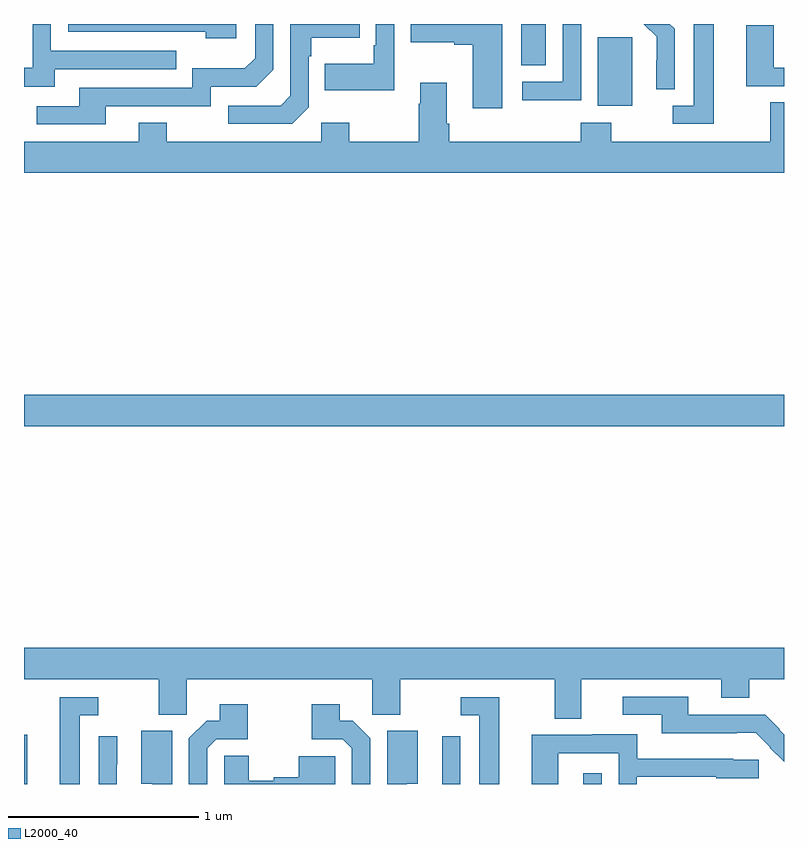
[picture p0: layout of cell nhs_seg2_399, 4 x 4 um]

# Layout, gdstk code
import gdstk
lib = gdstk.Library(unit=1e-6, precision=1e-09)
def R(c, l, rs):  # rectangles x0, y0, x1, y1
    for r in rs: c.add(gdstk.rectangle(r[:2], r[2:], *l))
def P(c, l, *ps):  # polygons
    for p in ps: c.add(gdstk.Polygon(p, *l))
L2000_40 = (2000, 40)

nhs_seg2_399 = lib.new_cell('nhs_seg2_399')
R(nhs_seg2_399, L2000_40, [(131,597.8,131.017,598.059), (133.943,597.8,134.04,597.856), (131,599.684,135,599.848), (134.021,601.37,134.2,601.731), (133.616,601.582,133.747,601.8)])
P(nhs_seg2_399, L2000_40, [(134.629,601.8),(134.525,601.8),(134.525,601.371),(134.415,601.371),(134.415,601.275),(134.629,601.275)],
  [(132.118,601.8),(131.232,601.8),(131.232,601.758),(131.957,601.758),(131.957,601.724),(132.118,601.724)],
  [(132.948,601.8),(132.852,601.8),(132.852,601.687),(132.84,601.687),(132.84,601.591),(132.583,601.591),(132.583,601.451),(132.948,601.451)],
  [(132.498,601.362),(132.498,601.631),(132.511,601.631),(132.511,601.727),(132.767,601.727),(132.767,601.8),(132.402,601.8),(132.402,601.422),(132.351,601.371),(132.075,601.371),(132.075,601.275),(132.411,601.275)],
  [(131.431,601.368),(131.982,601.368),(131.982,601.47),(132.222,601.47),(132.312,601.56),(132.312,601.8),(132.216,601.8),(132.216,601.62),(132.163,601.567),(131.886,601.567),(131.886,601.464),(131.291,601.464),(131.291,601.368),(131.067,601.368),(131.067,601.272),(131.431,601.272)],
  [(134.424,601.774),(134.398,601.8),(134.262,601.8),(134.33,601.733),(134.33,601.61),(134.328,601.61),(134.328,601.456),(134.424,601.456)],
  [(133.932,601.8),(133.836,601.8),(133.836,601.497),(133.623,601.497),(133.623,601.399),(133.932,601.399)],
  [(131.161,601.563),(131.801,601.563),(131.801,601.659),(131.142,601.659),(131.142,601.8),(131.046,601.8),(131.046,601.569),(131,601.569),(131,601.469),(131.161,601.469)],
  [(133.516,601.8),(133.035,601.8),(133.035,601.703),(133.265,601.703),(133.265,601.691),(133.361,601.691),(133.361,601.356),(133.516,601.356)],
  [(135,601.569),(134.946,601.569),(134.946,601.793),(134.801,601.793),(134.801,601.473),(135,601.473)],
  [(135,601.388),(134.927,601.388),(134.927,601.18),(134.091,601.18),(134.091,601.279),(133.931,601.279),(133.931,601.18),(133.238,601.18),(133.238,601.276),(133.225,601.276),(133.225,601.492),(133.085,601.492),(133.085,601.379),(133.078,601.379),(133.078,601.18),(132.711,601.18),(132.711,601.279),(132.564,601.279),(132.564,601.18),(131.751,601.18),(131.751,601.279),(131.603,601.279),(131.603,601.18),(131,601.18),(131,601.016),(135,601.016)],
  [(133.933,598.352),(134.669,598.352),(134.669,598.253),(134.817,598.253),(134.817,598.352),(135,598.352),(135,598.516),(131,598.516),(131,598.352),(131.71,598.352),(131.71,598.165),(131.856,598.165),(131.856,598.352),(132.834,598.352),(132.834,598.165),(132.981,598.165),(132.981,598.352),(133.793,598.352),(133.793,598.144),(133.933,598.144)],
  [(135,598.06),(134.975,598.085),(134.977,598.087),(134.901,598.164),(134.497,598.164),(134.497,598.26),(134.151,598.26),(134.151,598.164),(134.357,598.164),(134.357,598.067),(134.75,598.067),(134.75,598.07),(134.852,598.07),(134.928,597.993),(134.925,597.99),(135,597.916)],
  [(131.293,598.161),(131.392,598.161),(131.392,598.257),(131.189,598.257),(131.189,597.8),(131.293,597.8)],
  [(133.501,598.257),(133.299,598.257),(133.299,598.161),(133.397,598.161),(133.397,597.8),(133.501,597.8)],
  [(131.964,597.987),(132.012,598.035),(132.177,598.035),(132.177,598.219),(132.029,598.219),(132.029,598.134),(131.961,598.134),(131.868,598.041),(131.868,597.8),(131.964,597.8)],
  [(132.822,598.041),(132.729,598.134),(132.661,598.134),(132.661,598.219),(132.514,598.219),(132.514,598.035),(132.678,598.035),(132.726,597.987),(132.726,597.8),(132.822,597.8)],
  [(131.779,598.08),(131.618,598.08),(131.618,597.801),(131.675,597.801),(131.675,597.8),(131.779,597.8)],
  [(133.015,597.801),(133.072,597.801),(133.072,598.08),(132.911,598.08),(132.911,597.8),(133.015,597.8)],
  [(133.812,597.963),(134.13,597.963),(134.13,597.8),(134.226,597.8),(134.226,597.837),(134.643,597.837),(134.643,597.831),(134.868,597.831),(134.868,597.927),(134.733,597.927),(134.733,597.934),(134.227,597.934),(134.227,598.063),(133.991,598.063),(133.991,598.059),(133.673,598.059),(133.673,597.8),(133.812,597.8)],
  [(133.296,598.051),(133.2,598.051),(133.2,597.904),(133.202,597.904),(133.202,597.8),(133.296,597.8)],
  [(131.489,597.904),(131.49,597.904),(131.49,598.051),(131.394,598.051),(131.394,597.8),(131.489,597.8)],
  [(132.637,597.945),(132.446,597.945),(132.446,597.836),(132.315,597.836),(132.315,597.818),(132.184,597.818),(132.184,597.95),(132.054,597.95),(132.054,597.842),(132.053,597.842),(132.053,597.8),(132.637,597.8)])

lib.write_gds('nhs_seg2_399.gds')
